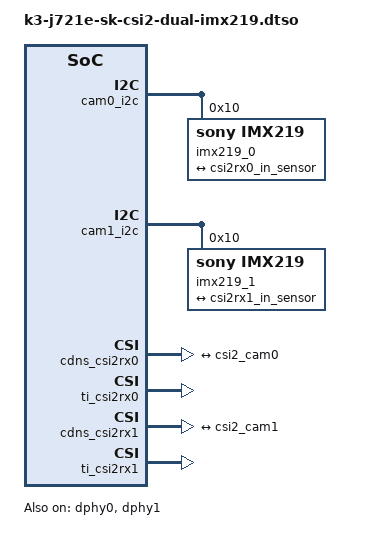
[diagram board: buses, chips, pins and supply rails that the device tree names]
// SPDX-License-Identifier: GPL-2.0-only OR MIT
/**
 * DT Overlay for dual RPi Camera V2.1 (Sony IMX219) interfaced with CSI2
 * on J721E SK, AM68 SK or AM69-SK board.
 * https://datasheets.raspberrypi.org/camera/camera-v2-schematic.pdf
 *
 * Copyright (C) 2024 Texas Instruments Incorporated - https://www.ti.com/
 */

/dts-v1/;
/plugin/;

#include <dt-bindings/gpio/gpio.h>
#include "k3-pinctrl.h"

&{/} {
	clk_imx219_fixed: imx219-xclk {
		compatible = "fixed-clock";
		#clock-cells = <0>;
		clock-frequency = <24000000>;
	};
};

&csi_mux {
	idle-state = <1>;
};

/* CAM0 I2C */
&cam0_i2c {
	#address-cells = <1>;
	#size-cells = <0>;
	imx219_0: imx219-0@10 {
		compatible = "sony,imx219";
		reg = <0x10>;

		clocks = <&clk_imx219_fixed>;
		clock-names = "xclk";

		port {
			csi2_cam0: endpoint {
				remote-endpoint = <&csi2rx0_in_sensor>;
				link-frequencies = /bits/ 64 <456000000>;
				clock-lanes = <0>;
				data-lanes = <1 2>;
			};
		};
	};
};

/* CAM1 I2C */
&cam1_i2c {
	#address-cells = <1>;
	#size-cells = <0>;
	imx219_1: imx219-1@10 {
		compatible = "sony,imx219";
		reg = <0x10>;

		clocks = <&clk_imx219_fixed>;
		clock-names = "xclk";

		port {
			csi2_cam1: endpoint {
				remote-endpoint = <&csi2rx1_in_sensor>;
				link-frequencies = /bits/ 64 <456000000>;
				clock-lanes = <0>;
				data-lanes = <1 2>;
			};
		};
	};
};


&cdns_csi2rx0 {
	ports {
		#address-cells = <1>;
		#size-cells = <0>;

		csi0_port0: port@0 {
			reg = <0>;
			status = "okay";

			csi2rx0_in_sensor: endpoint {
				remote-endpoint = <&csi2_cam0>;
				bus-type = <4>; /* CSI2 DPHY. */
				clock-lanes = <0>;
				data-lanes = <1 2>;
			};
		};

		csi0_port1: port@1 {
			reg = <1>;
			status = "disabled";
		};

		csi0_port2: port@2 {
			reg = <2>;
			status = "disabled";
		};

		csi0_port3: port@3 {
			reg = <3>;
			status = "disabled";
		};

		csi0_port4: port@4 {
			reg = <4>;
			status = "disabled";
		};
	};
};

&dphy0 {
	status = "okay";
};

&ti_csi2rx0 {
	status = "okay";
};

&cdns_csi2rx1 {
	ports {
		#address-cells = <1>;
		#size-cells = <0>;

		csi1_port0: port@0 {
			reg = <0>;
			status = "okay";

			csi2rx1_in_sensor: endpoint {
				remote-endpoint = <&csi2_cam1>;
				bus-type = <4>; /* CSI2 DPHY. */
				clock-lanes = <0>;
				data-lanes = <1 2>;
			};
		};

		csi1_port1: port@1 {
			reg = <1>;
			status = "disabled";
		};

		csi1_port2: port@2 {
			reg = <2>;
			status = "disabled";
		};

		csi1_port3: port@3 {
			reg = <3>;
			status = "disabled";
		};

		csi1_port4: port@4 {
			reg = <4>;
			status = "disabled";
		};
	};
};

&dphy1 {
	status = "okay";
};

&ti_csi2rx1 {
	status = "okay";
};
